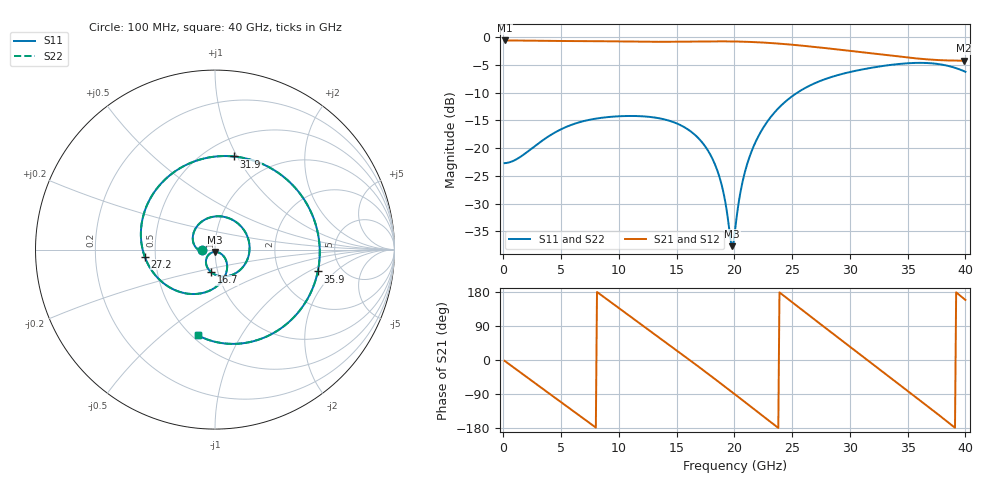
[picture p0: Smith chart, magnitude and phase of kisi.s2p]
! C_s8_ap600: L1→L8, antipad Ø0.6 on every plane
! stackup: 8-layer 1.6 mm FR-4 (generic)
! ports: 1, 2
! kisi-fdtd, conformal, dfine 0.035 mm, 560625 cells
# Hz S RI R 50
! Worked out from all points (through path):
!   400 points, 100 MHz to 40 GHz, reference 50 ohm
!   highest |S21| = -0.62 dB at 100 MHz (marker M1); lowest = -4.3 dB at 39.9 GHz (marker M2)
!   group delay of S21, straight-line fit = 64 ps
!   lowest |S11| = -37.6 dB at 19.8 GHz (marker M3), VSWR 1.03, Z = 50 - j1.31 ohm
!   |S11| at or under -10 dB: start of sweep to 25.46 GHz
!   |S22| runs from -37.6 to -4.6 dB; largest |S21 - S12| = 2.8e-07
!   S11 on the Smith chart (normalised r, x): 100 MHz: 0.86, -0.00; 16.7 GHz: 0.93, -0.24; 27.2 GHz: 0.44, -0.04; 31.9 GHz: 0.67, +0.97; 35.9 GHz: 3.33, -1.23; 40 GHz: 0.53, -0.67
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1e8  -0.0733 -0.000418  0.9308 -0.0365  0.9308 -0.0365  -0.0733 -0.000418
3.6e9  -0.1178 0.0303  0.1544 -0.9103  0.1544 -0.9103  -0.1178 0.0303
6.8e9  -0.0693 0.1592  -0.8083 -0.4389  -0.8083 -0.4389  -0.0693 0.1592
8.7e9  0.043 0.1838  -0.8895 0.2209  -0.8895 0.2209  0.043 0.1838
1.07e10  0.1583 0.1134  -0.4744 0.7773  -0.4744 0.7773  0.1583 0.1134
1.34e10  0.1705 -0.0753  0.4358 0.794  0.4358 0.794  0.1705 -0.0753
1.51e10  0.0758 -0.147  0.8346 0.3568  0.8346 0.3568  0.0758 -0.147
1.67e10  -0.0205 -0.1267  0.8879 -0.207  0.8879 -0.207  -0.0205 -0.1267
1.86e10  -0.0439 -0.0402  0.4996 -0.766  0.4996 -0.766  -0.0439 -0.0402
1.98e10  -0.000291 -0.0131  0.0812 -0.909  0.0812 -0.909  -0.000291 -0.0131
2.01e10  0.0137 -0.0146  -0.0307 -0.9109  -0.0307 -0.9109  0.0137 -0.0146
2.13e10  0.0604 -0.057  -0.4545 -0.7814  -0.4545 -0.7814  0.0604 -0.057
2.34e10  0.00929 -0.2052  -0.8657 -0.1551  -0.8657 -0.1551  0.00929 -0.2052
2.67e10  -0.3565 -0.1103  -0.3116 0.7578  -0.3116 0.7578  -0.3565 -0.1103
2.72e10  -0.3916 -0.0391  -0.1492 0.7952  -0.1492 0.7952  -0.3916 -0.0391
2.98e10  -0.2824 0.3866  0.5804 0.4834  0.5804 0.4834  -0.2824 0.3866
3.19e10  0.1067 0.5187  0.7034 -0.1151  0.7034 -0.1151  0.1067 0.5187
3.34e10  0.3993 0.3911  0.4885 -0.4777  0.4885 -0.4777  0.3993 0.3911
3.59e10  0.5728 -0.1218  -0.1411 -0.6242  -0.1411 -0.6242  0.5728 -0.1218
3.81e10  0.2725 -0.4908  -0.558 -0.2643  -0.558 -0.2643  0.2725 -0.4908
3.99e10  -0.0789 -0.4857  -0.5798 0.1991  -0.5798 0.1991  -0.0789 -0.4857
4e10  -0.095 -0.4775  -0.5704 0.2247  -0.5704 0.2247  -0.095 -0.4775
